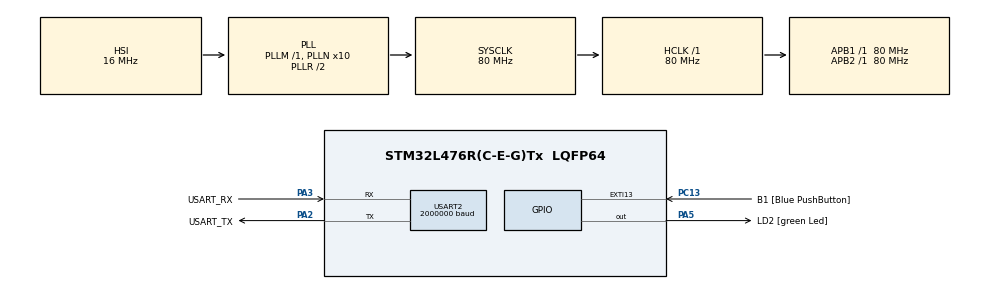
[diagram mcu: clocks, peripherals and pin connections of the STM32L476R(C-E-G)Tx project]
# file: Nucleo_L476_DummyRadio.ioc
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Mcu.Family=STM32L4
Mcu.Name=STM32L476R(C-E-G)Tx
Mcu.Package=LQFP64
NVIC.PriorityGroup=NVIC_PRIORITYGROUP_4
PA13\ (JTMS-SWDIO).GPIO_Label=TMS
PA13\ (JTMS-SWDIO).Mode=Serial_Wire
PA13\ (JTMS-SWDIO).Signal=SYS_JTMS-SWDIO
PA14\ (JTCK-SWCLK).GPIO_Label=TCK
PA14\ (JTCK-SWCLK).Mode=Serial_Wire
PA14\ (JTCK-SWCLK).Signal=SYS_JTCK-SWCLK
PA2.GPIO_Label=USART_TX
PA2.GPIO_Mode=GPIO_MODE_AF_PP
PA2.GPIO_PuPd=GPIO_NOPULL
PA2.GPIO_Speed=GPIO_SPEED_FREQ_VERY_HIGH
PA2.Mode=Asynchronous
PA2.Signal=USART2_TX
PA3.GPIO_Label=USART_RX
PA3.GPIO_Mode=GPIO_MODE_AF_PP
PA3.GPIO_PuPd=GPIO_NOPULL
PA3.GPIO_Speed=GPIO_SPEED_FREQ_VERY_HIGH
PA3.Mode=Asynchronous
PA3.Signal=USART2_RX
PA5.GPIO_Label=LD2 [green Led]
PA5.GPIO_ModeDefaultOutputPP=GPIO_MODE_OUTPUT_PP
PA5.GPIO_PuPd=GPIO_NOPULL
PA5.GPIO_Speed=GPIO_SPEED_FREQ_LOW
PA5.Signal=GPIO_Output
PB3\ (JTDO-TRACESWO).GPIO_Label=SWO
PB3\ (JTDO-TRACESWO).Signal=SYS_JTDO-SWO
PC13.GPIO_Label=B1 [Blue PushButton]
PC13.GPIO_ModeDefaultEXTI=GPIO_MODE_IT_FALLING
PC13.GPIO_PuPd=GPIO_NOPULL
PC13.Signal=GPXTI13
PC14-OSC32_IN\ (PC14).Mode=LSE-External-Oscillator
PC14-OSC32_IN\ (PC14).Signal=RCC_OSC32_IN
PC15-OSC32_OUT\ (PC15).Mode=LSE-External-Oscillator
PC15-OSC32_OUT\ (PC15).Signal=RCC_OSC32_OUT
PH0-OSC_IN\ (PH0).Signal=RCC_OSC_IN
PH1-OSC_OUT\ (PH1).Signal=RCC_OSC_OUT
ProjectManager.HeapSize=0x200
ProjectManager.StackSize=0x400
ProjectManager.TargetToolchain=STM32CubeIDE
RCC.ADCFreq_Value=64000000
RCC.AHBFreq_Value=80000000
RCC.APB1Freq_Value=80000000
RCC.APB1TimFreq_Value=80000000
RCC.APB2Freq_Value=80000000
RCC.APB2TimFreq_Value=80000000
RCC.CortexFreq_Value=80000000
RCC.HCLKFreq_Value=80000000
RCC.HSE_VALUE=8000000
RCC.HSI_VALUE=16000000
RCC.MSI_VALUE=4000000
RCC.PLLN=10
RCC.PLLSourceVirtual=RCC_PLLSOURCE_HSI
RCC.PREFETCH_ENABLE=1
RCC.SYSCLKFreq_VALUE=80000000
RCC.SYSCLKSource=RCC_SYSCLKSOURCE_PLLCLK
RCC.USBFreq_Value=64000000
RCC.VCOOutputFreq_Value=160000000
USART2.BaudRate=2000000
USART2.VirtualMode-Asynchronous=VM_ASYNC
VP_CRC_VS_CRC.Mode=CRC_Activate
board=NUCLEO-L476RG

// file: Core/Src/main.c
/* USER CODE BEGIN Header */
/**
  ******************************************************************************
  * @file           : main.c
  * @brief          : Main program body
  ******************************************************************************
  * @attention
  *
  * <h2><center>&copy; Copyright (c) 2022 STMicroelectronics.
  * All rights reserved.</center></h2>
  *
  * This software component is licensed by ST under BSD 3-Clause license,
  * the "License"; You may not use this file except in compliance with the
  * License. You may obtain a copy of the License at:
  *                        opensource.org/licenses/BSD-3-Clause
  *
  ******************************************************************************
  */
/* USER CODE END Header */
#include "main.h"

/* USER CODE BEGIN Includes */
#include <stdio.h>
#include <time.h>
#include <stdlib.h>
#include <stdint.h>
/* USER CODE END Includes */

/* USER CODE BEGIN PD */
#define BSSR_SERIAL_START 0xa5
#define BSSR_SERIAL_ESCAPE 0x5a
#define BBMB_ADDRESS 0x01
#define PPTMB_ADDRESS 0x02
#define MCMB_ADDRESS 0x03
#define DCMB_ADDRESS 0x04

#define MAX_PACKET_SIZE 256
#define HEADER_LENGTH 4
#define CRC_LENGTH 4

/*PAYLOAD LENGTH HAS TO BE A MULTIPLE OF 4*/
//Data ID 00
#define BUS_METRICS_LENGTH 20
#define MC2_STATE_LENGTH 8
//Data ID 01
#define CELL_METRICS_LENGTH 20 //20 for each cell and there are 29 cell in total, single cell data send at once
#define PPT_METRICS_LENGTH 52 //16 for each ppt and there are 3 ptt in total + 4 non repeating initial bytes
#define SPEED_PULSE_READING_LENGTH 4
#define BBOX_STARTUP_LENGTH 4
//Data ID 02
#define BSD_LENGTH 4
#define MOTOR_TEMPERATURE_LENGTH 4
#define PPTBOX_STARTUP_LENGTH 4
//Data ID 03
#define BMS_MCU_STATUS_LENGTH 16
#define LIGHT_STATE_LENGTH 4
//Data ID 04
#define HORN_STATE_LENGTH 4
//Data ID 0D
#define LP_BUS_METRICS_LENGTH 20
//Data ID 0E
#define CORE_TEMP_LENGTH 4
//Data ID 0F
#define  HEARTBEAT_LENGTH 4
/* USER CODE END PD */

CRC_HandleTypeDef hcrc;
UART_HandleTypeDef huart2;
/* USER CODE BEGIN PV */
//Data ID 00
uint8_t Bus_Metrics_Payload[BUS_METRICS_LENGTH];
uint8_t MC2_State_Payload[MC2_STATE_LENGTH];
//Data ID 01
uint8_t Cell_Metrics_Payload[CELL_METRICS_LENGTH];
uint8_t PPT_Metrics_Payload[PPT_METRICS_LENGTH];
uint8_t Speed_Pulse_Reading_Payload[SPEED_PULSE_READING_LENGTH];
uint8_t BBox_Startup_Payload[BBOX_STARTUP_LENGTH];
//Data ID 02
uint8_t BSD_Payload[BSD_LENGTH];
uint8_t Motor_Temperature_Payload[MOTOR_TEMPERATURE_LENGTH];
uint8_t PPTBox_Startup_Payload[PPTBOX_STARTUP_LENGTH];
//Data ID 03
uint8_t BMS_MCU_Status_Payload[BMS_MCU_STATUS_LENGTH];
uint8_t Light_State_Payload[LIGHT_STATE_LENGTH];
//Data ID 04
uint8_t Horn_State_Payload[HORN_STATE_LENGTH];
//Data ID 0D
uint8_t LP_Bus_Metrics_Payload[LP_BUS_METRICS_LENGTH];
//Data ID 0E
uint8_t Core_Temp_Payload[CORE_TEMP_LENGTH];
//Data ID 0F
uint8_t Heartbeat_Payload[HEARTBEAT_LENGTH];

//SeqNum is [0,255]
uint8_t BBMB_SeqNum = 0;
uint8_t PPTMB_SeqNum = 0;
uint8_t MCMB_SeqNum = 0;
uint8_t DCMB_SeqNum = 0;

/* USER CODE END PV */

void SystemClock_Config(void);
static void MX_GPIO_Init(void);
static void MX_USART2_UART_Init(void);
static void MX_CRC_Init(void);

/* USER CODE BEGIN 0 */
/* DATA ASSUMPTIONS:
 * Temp Range: 20-60
 * Max Temp Range: 20-30
 * Min Temp Range: 40-60
 * Reference: Aymon
 *
 * Current Range: 0-2 (6 digits after decimal)
 * Reference: Visual inspection from GenX test telemetry data
 *
 * Voltage Range: 2-5 (6 digits after decimal)
 * Reference: Visual inspection from GenX test telemetry data
 *
 * Bus_Metrics_Generator:
 *   samples of aggregate(0x03): 0x01
 * Reference: GenX PPTMB -> main.c -> static void adcTask(const void *pv);
 *
 * PPT_Metrics_Generator:
 *   PPT numbers: 7
 *   # of Sample Aggregate: 0x01
 * Reference: GenX PPTMB -> main.c -> static void adcTask(const void *pv);
 *
 * Speed_Pulse_Reading_And_MOT_LED_State_Generator:
 *   MOT_LED state: 0-1
 *   Speed_pulse Hz(uint16_t count): 0-255
 * Reference: GenX MCMB -> main.c -> static void spdTmr(TimerHandle_t xTimer);
 *
 * MC2_State_Generator:
 *   5 digital Buttons: 00000-11110 = 0-30
 *   Acc Pot (outputVal): 0 or 0xff
 * Reference: GenX DCMB -> main.c -> static void mc2StateTmr(TimerHandle_t xTimer);
 *
 * BBox_Startup_Generator:
 *   State (ignition_state): 0-1
 * Reference: GenX DCMB -> main.c -> void ignition_check(uint8_t data);
 *
 * PPTBox_Startup_Generator:
 *   State (array_state): 0-1
 * Reference: GenX DCMB -> main.c -> void ignition_check(uint8_t data);
 *
 * Light_State_Generator:
 *   left, right, brake: 0-1
 * Reference: GenX DCMB -> main.c -> static void lightsTmr(TimerHandle_t xTimer);
 *
 * Horn_State_Generator:
 *   State (horn_on): 0-1
 * Reference: GenX DCMB -> main.c -> static void buttonCheck(uint8_t state);
 * */

//Generate a random value in [max, min]
//One byte can express number 0-255, thus max<=255 && min>=0 && max>min
uint8_t getRandomValue(int min, int max){
    uint8_t r = rand() % (max + 1 - min) + min;
    return r;
}

//Insert num of random value in p starting at p[startPos]
void insertRandomValue(uint8_t* p, int startPos, int num, int min, int max){
    for(int i = startPos; i<startPos+num; i++){
        uint8_t r = getRandomValue(min, max);
        *(p+i) = r;
    }
}

//Data ID 00
void Bus_Metrics_Generator(uint8_t* p){
    *p = 0x00;
    *(p+1) = 0x00;
    *(p+2) = 0x00;
    *(p+3) = 0x01;
    insertRandomValue(p, 4, 8, 0, 255);
    *(p+12) = 0x00;
    *(p+13) = 0x00;
    *(p+14) = 0x00;
    *(p+15) = 0x00;
    *(p+16) = 0x00;
    *(p+17) = 0x00;
    *(p+18) = 0x00;
    *(p+19) = 0x00;
}
void MC2_State_Generator(uint8_t* p){
    *p = 0x00;
    insertRandomValue(p, 1, 1, 0, 30);
    insertRandomValue(p, 2, 2, 0, 255);
    *(p+4) = 0x00;
    *(p+5) = 0x00;
    *(p+6) = 0x00;
    *(p+7) = 0x00;
}
//Data ID 01
void Cell_Metrics_Generator(uint8_t* p, uint8_t cellNum){
    *(p) = 0x01;
    *(p+1) = cellNum;
    *(p+2) = 0x00;
    *(p+3) = 0x01;
    insertRandomValue(p, 4, 16, 0, 255);
}
void PPT_Metrics_Generator(uint8_t* p){
    *p = 0x01;
    *(p+1) = 7;
    *(p+2) = 0x00;
    *(p+3) = 0x01;
    for(int i =0; i<3; i++){
        *(p+4+i*16) = 0x00;
        *(p+5+i*16) = 0x00;
        *(p+6+i*16) = 0x00;
        *(p+7+i*16) = 0x00;
        insertRandomValue(p, 8+i*16, 4, 0, 255);
        *(p+12+i*16) = 0x00;
        *(p+13+i*16) = 0x00;
        *(p+14+i*16) = 0x00;
        *(p+15+i*16) = 0x00;
        *(p+16+i*16) = 0x00;
        *(p+17+i*16) = 0x00;
        *(p+18+i*16) = 0x00;
        *(p+19+i*16) = 0x00;
    }
}
void Speed_Pulse_Reading_Generator(uint8_t* p){
    *p = 0x01;
    insertRandomValue(p, 1, 1, 0, 255);
    *(p+2) = 0x00;
    *(p+3) = 0x00;
}
void BBox_Startup_Generator(uint8_t* p){
    *p = 0x01;
    insertRandomValue(p, 1, 1, 0, 1);
    *(p+2) = 0x00;
    *(p+3) = 0x00;
}
//Data ID 02
void BSD_Generator(uint8_t* p){
    *p = 0x02;
    insertRandomValue(p, 1, 3, 0, 255);
}
void Motor_Temperature_Generator(uint8_t* p){
    *p = 0x02;
    insertRandomValue(p, 1, 1, 0, 40);
    *(p+2) = 0x00;
    *(p+3) = 0x00;
}
void PPTBox_Startup_Generator(uint8_t* p){
    *p = 0x02;
    insertRandomValue(p, 1, 1, 0, 1);
    *(p+2) = 0x00;
    *(p+3) = 0x00;
}
//Data ID 03
void BMS_MCU_Status_Generator(uint8_t* p){
    *p = 0x03;
    insertRandomValue(p, 1, 15, 0, 255);
}
void Light_State_Generator(uint8_t* p){
    *p = 0x03;
    insertRandomValue(p, 1, 3, 0, 1);
}
//Data ID 04
void Horn_State_Generator(uint8_t* p){
    *p = 0x04;
    insertRandomValue(p, 1, 1, 0, 1);
    *(p+2) = 0x00;
    *(p+3) = 0x00;
}
//Data ID 0D
void LP_Bus_Metrics_Generator(uint8_t* p){
    *p = 0x0d;
    *(p+1) = 0x00;
    *(p+2) = 0x00;
    *(p+3) = 0x01;
    insertRandomValue(p, 4, 8, 0, 255);
    *(p+12) = 0x00;
    *(p+13) = 0x00;
    *(p+14) = 0x00;
    *(p+15) = 0x00;
    *(p+16) = 0x00;
    *(p+17) = 0x00;
    *(p+18) = 0x00;
    *(p+19) = 0x00;
}
//Data ID 0E
void Core_Temp_Generator(uint8_t* p){
    *p = 0x0e;
    insertRandomValue(p, 1, 3, 20, 60);
}
//Data ID 0F
void Heartbeat_Generator(uint8_t* p){
    *p = 0x0f;
    *(p+1) = 0x00;
    *(p+2) = 0x00;
    *(p+3) = 0x00;
}

void dummySend(uint8_t payloadLength, uint8_t senderAddress, uint8_t* seqNum, uint8_t* payload){

	uint8_t buf[HEADER_LENGTH + MAX_PACKET_SIZE + CRC_LENGTH];

	buf[0] = BSSR_SERIAL_START;
	buf[1] = payloadLength;
	buf[2] = senderAddress;
	buf[3] = seqNum;
	memcpy(buf+4, payload, payloadLength);
	uint32_t crc_result = ~HAL_CRC_Calculate(&hcrc, (uint32_t*)buf, payloadLength+4);

	uint16_t buf_pos = 0;

	buf[buf_pos] = BSSR_SERIAL_START;
	buf_pos++;

	if(payloadLength == BSSR_SERIAL_START || payloadLength == BSSR_SERIAL_ESCAPE){
		buf[buf_pos] = BSSR_SERIAL_ESCAPE;
		buf_pos++;
		buf[buf_pos] = payloadLength;
		buf_pos++;
	} else{
		buf[buf_pos] = payloadLength;
		buf_pos++;
	}

	buf[buf_pos] = senderAddress;
	buf_pos++;

	if(*seqNum == BSSR_SERIAL_START || *seqNum == BSSR_SERIAL_ESCAPE){
		buf[buf_pos] = BSSR_SERIAL_ESCAPE;
		buf_pos++;
		buf[buf_pos] = *seqNum;
		buf_pos++;
	} else{
		buf[buf_pos] = *seqNum;
		buf_pos++;
	}
	(*seqNum)++;

	for(int i=0; i<payloadLength; i++){
		if(*(payload+i) == BSSR_SERIAL_ESCAPE || *(payload+i) == BSSR_SERIAL_START){
			buf[buf_pos] = BSSR_SERIAL_ESCAPE;
			buf_pos++;
			buf[buf_pos] = *(payload+i);
			buf_pos++;
		} else{
			buf[buf_pos] = *(payload+i);
			buf_pos++;
		}
	}

	for(int i=0; i<4; i++){
		uint8_t crc = (crc_result>>(8*(3-i))) & 255;
		if(crc == BSSR_SERIAL_ESCAPE || crc == BSSR_SERIAL_START){
			buf[buf_pos] = BSSR_SERIAL_ESCAPE;
			buf_pos++;
			buf[buf_pos] = crc;
			buf_pos++;
		} else{
			buf[buf_pos] = crc;
			buf_pos++;
		}
	}

	if(buf_pos%4 != 0) {
	        int paddingNum = 4 - buf_pos % 4;
	        for (int i = paddingNum; i > 0; i--) {
	            buf[buf_pos] = 0x00;
	            buf_pos++;
	        }
	    }

	HAL_UART_Transmit(&huart2, buf, buf_pos, HAL_MAX_DELAY);
}

void BBMB(){

    //There are 7 data types in BBMB
    for(int i=0; i<7; i++){

        switch(i){
            case 0: //Send Bus Metrics Data
            {
                Bus_Metrics_Generator(Bus_Metrics_Payload);
                dummySend(BUS_METRICS_LENGTH, BBMB_ADDRESS, &BBMB_SeqNum, Bus_Metrics_Payload);
                break;
            }
            case 1: //Send Cell Metrics Data
            {
                for(int i=0; i<29; i++) {
                    Cell_Metrics_Generator(Cell_Metrics_Payload, i+1);
                    dummySend(CELL_METRICS_LENGTH, BBMB_ADDRESS, &BBMB_SeqNum, Cell_Metrics_Payload);
                }
                break;
            }
            case 2: //Send BSD Data
            {
                BSD_Generator(BSD_Payload);
                dummySend(BSD_LENGTH, BBMB_ADDRESS, &BBMB_SeqNum, BSD_Payload);
                break;
            }
            case 3: //Send BMS MCU Status Data
            {
                BMS_MCU_Status_Generator(BMS_MCU_Status_Payload);
                dummySend(BMS_MCU_STATUS_LENGTH, BBMB_ADDRESS, &BBMB_SeqNum, BMS_MCU_Status_Payload);
                break;
            }
            case 4: //Send LP Bus Metrics Data
            {
                LP_Bus_Metrics_Generator(LP_Bus_Metrics_Payload);
                dummySend(LP_BUS_METRICS_LENGTH, BBMB_ADDRESS, &BBMB_SeqNum, LP_Bus_Metrics_Payload);
                break;
            }
            case 5: //Send Core Temp Data
            {
                Core_Temp_Generator(Core_Temp_Payload);
                dummySend(CORE_TEMP_LENGTH, BBMB_ADDRESS, &BBMB_SeqNum, Core_Temp_Payload);
                break;
            }
            case 6: //Send Heartbeat Data
            {
                Heartbeat_Generator(Heartbeat_Payload);
                dummySend(HEARTBEAT_LENGTH, BBMB_ADDRESS, &BBMB_SeqNum, Heartbeat_Payload);
                break;
            }
        }
    }
}

void PPTMB(){

    //There are 5 data types in PPTMB
    for(int i=0; i<5; i++){

        switch(i){
            case 0: //Send Bus Metrics Data
            {
                Bus_Metrics_Generator(Bus_Metrics_Payload);
                dummySend(BUS_METRICS_LENGTH, PPTMB_ADDRESS, &PPTMB_SeqNum, Bus_Metrics_Payload);
                break;
            }
            case 1: //Send PPT Metrics Data
            {
                PPT_Metrics_Generator(PPT_Metrics_Payload);
                dummySend(PPT_METRICS_LENGTH, PPTMB_ADDRESS, &PPTMB_SeqNum, PPT_Metrics_Payload);
                break;
            }
            case 2: //Send LP Bus Metrics Data
            {
                LP_Bus_Metrics_Generator(LP_Bus_Metrics_Payload);
                dummySend(LP_BUS_METRICS_LENGTH, PPTMB_ADDRESS, &PPTMB_SeqNum, LP_Bus_Metrics_Payload);
                break;
            }
            case 3: //Send Core Temp Data
            {
                Core_Temp_Generator(Core_Temp_Payload);
                dummySend(CORE_TEMP_LENGTH, PPTMB_ADDRESS, &PPTMB_SeqNum, Core_Temp_Payload);
                break;
            }
            case 4: //Send Heartbeat Data
            {
                Heartbeat_Generator(Heartbeat_Payload);
                dummySend(HEARTBEAT_LENGTH, PPTMB_ADDRESS, &PPTMB_SeqNum, Heartbeat_Payload);
                break;
            }
        }
    }
}

void MCMB(){

    //There are 6 data types in MCMB
    for(int i=0; i<6; i++){

        switch(i){
            case 0: //Send Bus Metrics Data
            {
                Bus_Metrics_Generator(Bus_Metrics_Payload);
                dummySend(BUS_METRICS_LENGTH, MCMB_ADDRESS, &MCMB_SeqNum, Bus_Metrics_Payload);
                break;
            }
            case 1: //Send Speed Pulse Reading Data
            {
                Speed_Pulse_Reading_Generator(Speed_Pulse_Reading_Payload);
                dummySend(SPEED_PULSE_READING_LENGTH, MCMB_ADDRESS, &MCMB_SeqNum, Speed_Pulse_Reading_Payload);
                break;
            }
            case 2: //Send Motor Temperature Data
            {
                Motor_Temperature_Generator(Motor_Temperature_Payload);
                dummySend(MOTOR_TEMPERATURE_LENGTH, MCMB_ADDRESS, &MCMB_SeqNum, Motor_Temperature_Payload);
                break;
            }
            case 3: //Send LP Bus Metrics Data
            {
                LP_Bus_Metrics_Generator(LP_Bus_Metrics_Payload);
                dummySend(LP_BUS_METRICS_LENGTH, MCMB_ADDRESS, &MCMB_SeqNum, LP_Bus_Metrics_Payload);
                break;
            }
            case 4: //Send Core Temp Data
            {
                Core_Temp_Generator(Core_Temp_Payload);
                dummySend(CORE_TEMP_LENGTH, MCMB_ADDRESS, &MCMB_SeqNum, Core_Temp_Payload);
                break;
            }
            case 5: //Send Heartbeat Data
            {
                Heartbeat_Generator(Heartbeat_Payload);
                dummySend(HEARTBEAT_LENGTH, MCMB_ADDRESS, &MCMB_SeqNum, Heartbeat_Payload);
                break;
            }
        }
    }
}

void DCMB(){

    //There are 8 data types in DCMB
    for(int i=0; i<8; i++){

        switch(i){
            case 0: //Send MC2 State Data
            {
                MC2_State_Generator(MC2_State_Payload);
                dummySend(MC2_STATE_LENGTH, DCMB_ADDRESS, &DCMB_SeqNum, MC2_State_Payload);
                break;
            }
            case 1: //Send BBox Startup Data
            {
                BBox_Startup_Generator(BBox_Startup_Payload);
                dummySend(BBOX_STARTUP_LENGTH, DCMB_ADDRESS, &DCMB_SeqNum, BBox_Startup_Payload);
                break;
            }
            case 2: //Send PPTBox Startup Data
            {
                PPTBox_Startup_Generator(PPTBox_Startup_Payload);
                dummySend(PPTBOX_STARTUP_LENGTH, DCMB_ADDRESS, &DCMB_SeqNum, PPTBox_Startup_Payload);
                break;
            }
            case 3: //Send Light State Data
            {
                Light_State_Generator(Light_State_Payload);
                dummySend(LIGHT_STATE_LENGTH, DCMB_ADDRESS, &DCMB_SeqNum, Light_State_Payload);
                break;
            }
            case 4: //Send Horn State Data
            {
                Horn_State_Generator(Horn_State_Payload);
                dummySend(HORN_STATE_LENGTH, DCMB_ADDRESS, &DCMB_SeqNum, Horn_State_Payload);
                break;
            }
            case 5: //Send LP Bus Metrics Data
            {
                LP_Bus_Metrics_Generator(LP_Bus_Metrics_Payload);
                dummySend(LP_BUS_METRICS_LENGTH, DCMB_ADDRESS, &DCMB_SeqNum, LP_Bus_Metrics_Payload);
                break;
            }
            case 6: //Send Core Temp Data
            {
                Core_Temp_Generator(Core_Temp_Payload);
                dummySend(CORE_TEMP_LENGTH, DCMB_ADDRESS, &DCMB_SeqNum, Core_Temp_Payload);
                break;
            }
            case 7: //Send Heartbeat Data
            {
                Heartbeat_Generator(Heartbeat_Payload);
                dummySend(HEARTBEAT_LENGTH, DCMB_ADDRESS, &DCMB_SeqNum, Heartbeat_Payload);
                break;
            }
        }
    }
}
/* USER CODE END 0 */

int main(void)
{

  /* MCU Configuration--------------------------------------------------------*/

  /* Reset of all peripherals, Initializes the Flash interface and the Systick. */
  HAL_Init();

  /* Configure the system clock */
  SystemClock_Config();

  /* Initialize all configured peripherals */
  MX_GPIO_Init();
  MX_USART2_UART_Init();
  MX_CRC_Init();
  /* USER CODE BEGIN 2 */
  srand(time(NULL));
  /* USER CODE END 2 */

  /* Infinite loop */
  /* USER CODE BEGIN WHILE */
  while (1)
  {
	 BBMB();
	 PPTMB();
	 MCMB();
	 DCMB();
    /* USER CODE END WHILE */

  }
}

void SystemClock_Config(void)
{
  RCC_OscInitTypeDef RCC_OscInitStruct = {0};
  RCC_ClkInitTypeDef RCC_ClkInitStruct = {0};

  /** Configure the main internal regulator output voltage
  */
  if (HAL_PWREx_ControlVoltageScaling(PWR_REGULATOR_VOLTAGE_SCALE1) != HAL_OK)
  {
    Error_Handler();
  }
  /** Initializes the RCC Oscillators according to the specified parameters
  * in the RCC_OscInitTypeDef structure.
  */
  RCC_OscInitStruct.OscillatorType = RCC_OSCILLATORTYPE_HSI;
  RCC_OscInitStruct.HSIState = RCC_HSI_ON;
  RCC_OscInitStruct.HSICalibrationValue = RCC_HSICALIBRATION_DEFAULT;
  RCC_OscInitStruct.PLL.PLLState = RCC_PLL_ON;
  RCC_OscInitStruct.PLL.PLLSource = RCC_PLLSOURCE_HSI;
  RCC_OscInitStruct.PLL.PLLM = 1;
  RCC_OscInitStruct.PLL.PLLN = 10;
  RCC_OscInitStruct.PLL.PLLP = RCC_PLLP_DIV7;
  RCC_OscInitStruct.PLL.PLLQ = RCC_PLLQ_DIV2;
  RCC_OscInitStruct.PLL.PLLR = RCC_PLLR_DIV2;
  if (HAL_RCC_OscConfig(&RCC_OscInitStruct) != HAL_OK)
  {
    Error_Handler();
  }
  /** Initializes the CPU, AHB and APB buses clocks
  */
  RCC_ClkInitStruct.ClockType = RCC_CLOCKTYPE_HCLK|RCC_CLOCKTYPE_SYSCLK
                              |RCC_CLOCKTYPE_PCLK1|RCC_CLOCKTYPE_PCLK2;
  RCC_ClkInitStruct.SYSCLKSource = RCC_SYSCLKSOURCE_PLLCLK;
  RCC_ClkInitStruct.AHBCLKDivider = RCC_SYSCLK_DIV1;
  RCC_ClkInitStruct.APB1CLKDivider = RCC_HCLK_DIV1;
  RCC_ClkInitStruct.APB2CLKDivider = RCC_HCLK_DIV1;

  if (HAL_RCC_ClockConfig(&RCC_ClkInitStruct, FLASH_LATENCY_4) != HAL_OK)
  {
    Error_Handler();
  }
}

static void MX_CRC_Init(void)
{

  hcrc.Instance = CRC;
  hcrc.Init.DefaultPolynomialUse = DEFAULT_POLYNOMIAL_ENABLE;
  hcrc.Init.DefaultInitValueUse = DEFAULT_INIT_VALUE_ENABLE;
  hcrc.Init.InputDataInversionMode = CRC_INPUTDATA_INVERSION_NONE;
  hcrc.Init.OutputDataInversionMode = CRC_OUTPUTDATA_INVERSION_DISABLE;
  hcrc.InputDataFormat = CRC_INPUTDATA_FORMAT_BYTES;
  if (HAL_CRC_Init(&hcrc) != HAL_OK)
  {
    Error_Handler();
  }

}

static void MX_USART2_UART_Init(void)
{

  huart2.Instance = USART2;
  huart2.Init.BaudRate = 500000;
  huart2.Init.WordLength = UART_WORDLENGTH_8B;
  huart2.Init.StopBits = UART_STOPBITS_1;
  huart2.Init.Parity = UART_PARITY_NONE;
  huart2.Init.Mode = UART_MODE_TX_RX;
  huart2.Init.HwFlowCtl = UART_HWCONTROL_NONE;
  huart2.Init.OverSampling = UART_OVERSAMPLING_16;
  huart2.Init.OneBitSampling = UART_ONE_BIT_SAMPLE_DISABLE;
  huart2.AdvancedInit.AdvFeatureInit = UART_ADVFEATURE_NO_INIT;
  if (HAL_UART_Init(&huart2) != HAL_OK)
  {
    Error_Handler();
  }

}

static void MX_GPIO_Init(void)
{
  GPIO_InitTypeDef GPIO_InitStruct = {0};

  /* GPIO Ports Clock Enable */
  __HAL_RCC_GPIOC_CLK_ENABLE();
  __HAL_RCC_GPIOH_CLK_ENABLE();
  __HAL_RCC_GPIOA_CLK_ENABLE();
  __HAL_RCC_GPIOB_CLK_ENABLE();

  /*Configure GPIO pin Output Level */
  HAL_GPIO_WritePin(LD2_GPIO_Port, LD2_Pin, GPIO_PIN_RESET);

  /*Configure GPIO pin : B1_Pin */
  GPIO_InitStruct.Pin = B1_Pin;
  GPIO_InitStruct.Mode = GPIO_MODE_IT_FALLING;
  GPIO_InitStruct.Pull = GPIO_NOPULL;
  HAL_GPIO_Init(B1_GPIO_Port, &GPIO_InitStruct);

  /*Configure GPIO pin : LD2_Pin */
  GPIO_InitStruct.Pin = LD2_Pin;
  GPIO_InitStruct.Mode = GPIO_MODE_OUTPUT_PP;
  GPIO_InitStruct.Pull = GPIO_NOPULL;
  GPIO_InitStruct.Speed = GPIO_SPEED_FREQ_LOW;
  HAL_GPIO_Init(LD2_GPIO_Port, &GPIO_InitStruct);

}

void Error_Handler(void)
{
  __disable_irq();
  while (1)
  {
  }
}

/************************ (C) COPYRIGHT STMicroelectronics *****END OF FILE****/
